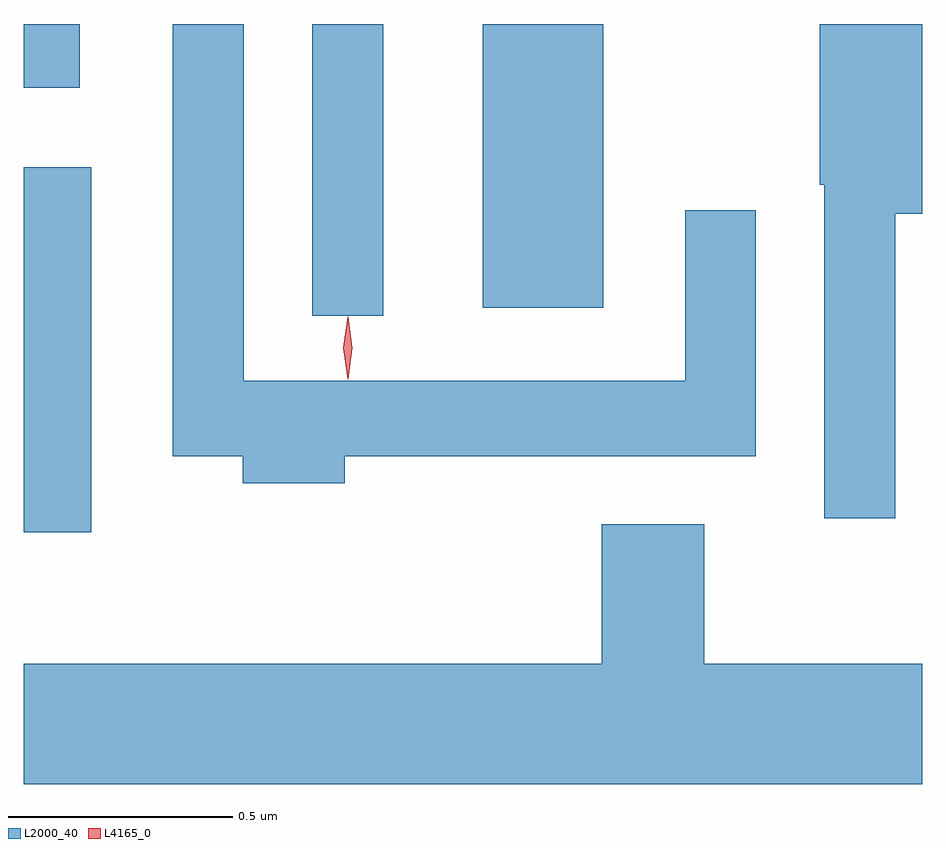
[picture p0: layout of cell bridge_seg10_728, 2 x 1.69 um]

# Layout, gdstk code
import gdstk
lib = gdstk.Library(unit=1e-6, precision=1e-09)
def R(c, l, rs):  # rectangles x0, y0, x1, y1
    for r in rs: c.add(gdstk.rectangle(r[:2], r[2:], *l))
def P(c, l, *ps):  # polygons
    for p in ps: c.add(gdstk.Polygon(p, *l))
L2000_40 = (2000, 40)
L4165_0 = (4165, 0)

bridge_seg10_728 = lib.new_cell('bridge_seg10_728')
R(bridge_seg10_728, L2000_40, [(1031.564,2094.496,1031.714,2095.309), (1032.206,2094.978,1032.364,2095.628), (1032.586,2094.996,1032.854,2095.628), (1031.564,2095.486,1031.689,2095.628)])
P(bridge_seg10_728, L2000_40, [(1032.279,2094.666),(1033.194,2094.666),(1033.194,2095.213),(1033.036,2095.213),(1033.036,2094.834),(1032.054,2094.834),(1032.054,2095.628),(1031.896,2095.628),(1031.896,2094.666),(1032.051,2094.666),(1032.051,2094.606),(1032.279,2094.606)],
  [(1033.504,2095.206),(1033.564,2095.206),(1033.564,2095.628),(1033.336,2095.628),(1033.336,2095.27),(1033.346,2095.27),(1033.346,2094.528),(1033.504,2094.528)],
  [(1033.564,2094.204),(1033.079,2094.204),(1033.079,2094.514),(1032.851,2094.514),(1032.851,2094.204),(1031.564,2094.204),(1031.564,2093.936),(1033.564,2093.936)])
P(bridge_seg10_728, L4165_0, [(1032.285,2094.837),(1032.285,2094.837),(1032.275,2094.907),(1032.285,2094.976),(1032.285,2094.976),(1032.286,2094.976),(1032.295,2094.907),(1032.286,2094.837)],
  [(1032.285,2094.839),(1032.285,2094.84),(1032.275,2094.906),(1032.285,2094.972),(1032.285,2094.973),(1032.286,2094.972),(1032.295,2094.906),(1032.286,2094.84)])

lib.write_gds('bridge_seg10_728.gds')
